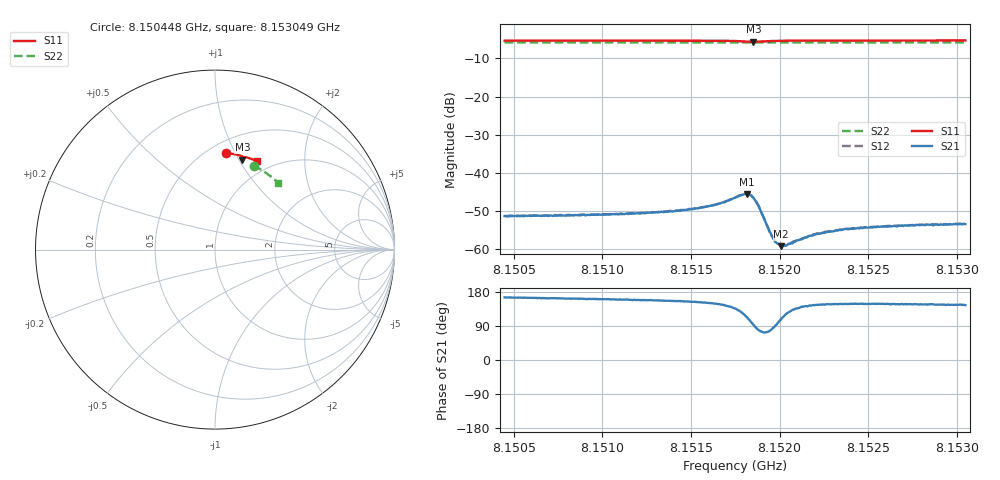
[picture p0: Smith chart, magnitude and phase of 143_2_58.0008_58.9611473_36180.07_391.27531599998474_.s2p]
#  HZ  S  RI  R  50.00
! Rohde & Schwarz Vector Network Analyzer
! Rohde-Schwarz,ZNB20-2Port,1311601062101988,3.16
! Created: UTC 3/21/2024, 12:56:42 AM
! freq[Hz]  re:S11  im:S11  re:S21  im:S21  re:S12  im:S12  re:S22  im:S22
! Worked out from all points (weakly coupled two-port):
!   401 points, 8.150448 GHz to 8.153049 GHz, reference 50 ohm
!   highest |S21| = -45.54 dB at 8.151814 GHz (marker M1); lowest = -59.2 dB at 8.152009 GHz (marker M2)
!   lowest |S11| = -5.6 dB at 8.151853 GHz (marker M3), VSWR 3.20, Z = 37.4 + j51.7 ohm
!   |S11| at or under -10 dB: nowhere
!   |S22| runs from -5.8 to -5.8 dB; largest |S21 - S12| = 0.00012
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8.150448e9  0.0635 0.5376  -0.00262 0.000687  -0.00263 0.000756  0.2149 0.4681
8.1508837e9  0.0941 0.5338  -0.00266 0.000864  -0.00267 0.000973  0.2398 0.4552
8.1513194e9  0.125 0.5279  -0.0028 0.00118  -0.00283 0.00126  0.264 0.441
8.1514884e9  0.1376 0.5246  -0.00298 0.00144  -0.003 0.00151  0.2732 0.4352
8.151599e9  0.1465 0.5216  -0.00317 0.00176  -0.00314 0.00185  0.2791 0.4311
8.1516965e9  0.1549 0.517  -0.00335 0.00249  -0.00339 0.00256  0.2843 0.4274
8.1517486e9  0.1588 0.5124  -0.0034 0.00327  -0.00334 0.00333  0.287 0.4255
8.1518136e9  0.1588 0.5026  -0.00214 0.00483  -0.00208 0.0049  0.29 0.4228
8.1518331e9  0.156 0.5007  -0.00122 0.00496  -0.00116 0.00503  0.2909 0.4221
8.1518526e9  0.1523 0.5008  -0.00025 0.00469  -0.000168 0.00473  0.2917 0.4214
8.1518656e9  0.1502 0.5023  0.000313 0.00424  0.000366 0.00426  0.2923 0.421
8.1518851e9  0.1485 0.5053  0.000724 0.00343  0.000759 0.00348  0.2933 0.4204
8.1519306e9  0.1511 0.5119  0.000551 0.00193  0.000594 0.0019  0.2959 0.4191
8.1519631e9  0.1547 0.5142  0.000127 0.00139  0.00016 0.00139  0.2976 0.4179
8.1519827e9  0.1569 0.5149  -7.01e-05 0.00121  -9.1e-05 0.0012  0.2986 0.4171
8.1520087e9  0.1598 0.5155  -0.00033 0.00104  -0.000359 0.00108  0.3 0.4162
8.1520477e9  0.1637 0.5155  -0.000658 0.000941  -0.000671 0.000957  0.3021 0.4147
8.1521842e9  0.1755 0.5138  -0.00122 0.000876  -0.00122 0.000891  0.3091 0.4092
8.1522688e9  0.1819 0.512  -0.00141 0.000909  -0.00139 0.000943  0.3134 0.4059
8.1523728e9  0.1895 0.5097  -0.00157 0.000971  -0.00151 0.00098  0.3187 0.4017
8.1526199e9  0.2064 0.5037  -0.00169 0.00106  -0.00169 0.0011  0.3307 0.3915
8.1530491e9  0.2345 0.4923  -0.00173 0.00122  -0.00176 0.00125  0.3505 0.3728
